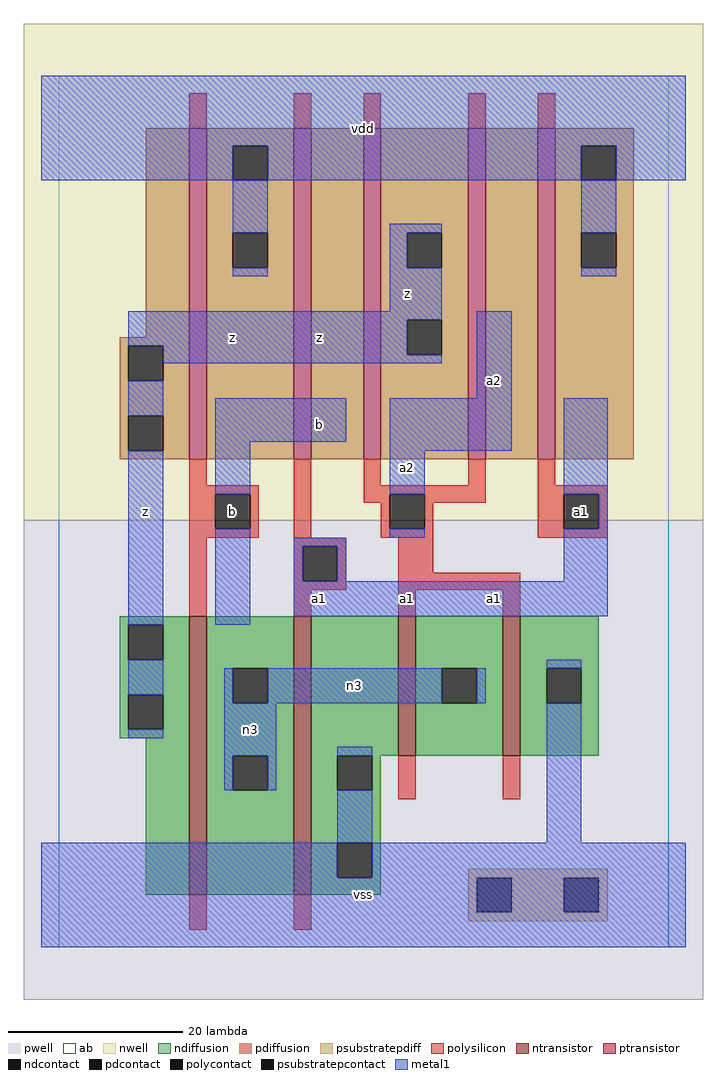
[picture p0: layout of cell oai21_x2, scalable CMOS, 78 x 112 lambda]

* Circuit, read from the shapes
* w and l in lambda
.subckt oai21_x2 a1 a2 b n3 vdd vss z
M1 n3 b z vss nfet w=32 l=2
M2 vss a1 n3 vss nfet w=32 l=2
M3 n3 a2 vss vss nfet w=16 l=2 m=2
M4 vdd b z n1 pfet w=38 l=2
M5 n2 a1 vdd n1 pfet w=38 l=2
M6 z a2 n2 n1 pfet w=38 l=2
M7 n4 a2 z n1 pfet w=38 l=2
M8 vdd a1 n4 n1 pfet w=38 l=2
.ends

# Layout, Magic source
magic
tech scmos
<< ab >>
rect 0 0 70 100
<< pwell >>
rect -4 -6 74 49
<< nwell >>
rect -4 49 74 106
<< polysilicon >>
rect 15 94 17 98
rect 27 94 29 98
rect 35 94 37 98
rect 47 94 49 98
rect 55 94 57 98
rect 15 53 17 56
rect 15 52 23 53
rect 15 48 18 52
rect 22 48 23 52
rect 15 47 23 48
rect 27 47 29 56
rect 35 53 37 56
rect 47 53 49 56
rect 35 52 49 53
rect 35 51 38 52
rect 37 48 38 51
rect 42 51 49 52
rect 55 53 57 56
rect 55 52 63 53
rect 42 48 43 51
rect 37 47 43 48
rect 55 48 58 52
rect 62 48 63 52
rect 55 47 63 48
rect 15 38 17 47
rect 27 46 33 47
rect 27 42 28 46
rect 32 42 33 46
rect 27 41 33 42
rect 39 43 43 47
rect 39 41 53 43
rect 27 38 29 41
rect 39 38 41 41
rect 51 38 53 41
rect 39 17 41 22
rect 51 17 53 22
rect 15 2 17 6
rect 27 2 29 6
<< ndiffusion >>
rect 7 37 15 38
rect 7 33 8 37
rect 12 33 15 37
rect 7 29 15 33
rect 7 25 8 29
rect 12 25 15 29
rect 7 24 15 25
rect 10 6 15 24
rect 17 32 27 38
rect 17 28 20 32
rect 24 28 27 32
rect 17 22 27 28
rect 17 18 20 22
rect 24 18 27 22
rect 17 6 27 18
rect 29 22 39 38
rect 41 32 51 38
rect 41 28 44 32
rect 48 28 51 32
rect 41 22 51 28
rect 53 32 62 38
rect 53 28 56 32
rect 60 28 62 32
rect 53 22 62 28
rect 29 18 32 22
rect 36 18 37 22
rect 29 12 37 18
rect 29 8 32 12
rect 36 8 37 12
rect 29 6 37 8
<< pdiffusion >>
rect 10 70 15 94
rect 7 69 15 70
rect 7 65 8 69
rect 12 65 15 69
rect 7 61 15 65
rect 7 57 8 61
rect 12 57 15 61
rect 7 56 15 57
rect 17 92 27 94
rect 17 88 20 92
rect 24 88 27 92
rect 17 82 27 88
rect 17 78 20 82
rect 24 78 27 82
rect 17 56 27 78
rect 29 56 35 94
rect 37 82 47 94
rect 37 78 40 82
rect 44 78 47 82
rect 37 72 47 78
rect 37 68 40 72
rect 44 68 47 72
rect 37 56 47 68
rect 49 56 55 94
rect 57 92 66 94
rect 57 88 60 92
rect 64 88 66 92
rect 57 82 66 88
rect 57 78 60 82
rect 64 78 66 82
rect 57 56 66 78
<< metal1 >>
rect -2 92 72 100
rect -2 88 20 92
rect 24 88 60 92
rect 64 88 72 92
rect 20 82 24 88
rect 20 77 24 78
rect 38 82 44 83
rect 38 78 40 82
rect 38 73 44 78
rect 60 82 64 88
rect 60 77 64 78
rect 8 72 44 73
rect 8 69 40 72
rect 12 68 40 69
rect 12 67 44 68
rect 8 61 12 65
rect 48 63 52 73
rect 8 37 12 57
rect 18 58 33 63
rect 18 52 22 58
rect 18 37 22 48
rect 38 57 52 63
rect 38 52 42 57
rect 38 47 42 48
rect 58 52 63 63
rect 62 48 63 52
rect 27 46 33 47
rect 27 42 28 46
rect 32 42 33 46
rect 58 42 63 48
rect 27 38 63 42
rect 8 29 12 33
rect 56 32 60 33
rect 8 24 12 25
rect 19 28 20 32
rect 24 28 44 32
rect 48 28 49 32
rect 19 22 25 28
rect 19 18 20 22
rect 24 18 25 22
rect 32 22 36 23
rect 32 12 36 18
rect 56 12 60 28
rect -2 8 32 12
rect 36 8 72 12
rect -2 0 72 8
<< ntransistor >>
rect 15 6 17 38
rect 27 6 29 38
rect 39 22 41 38
rect 51 22 53 38
<< ptransistor >>
rect 15 56 17 94
rect 27 56 29 94
rect 35 56 37 94
rect 47 56 49 94
rect 55 56 57 94
<< polycontact >>
rect 18 48 22 52
rect 38 48 42 52
rect 58 48 62 52
rect 28 42 32 46
<< ndcontact >>
rect 8 33 12 37
rect 8 25 12 29
rect 20 28 24 32
rect 20 18 24 22
rect 44 28 48 32
rect 56 28 60 32
rect 32 18 36 22
rect 32 8 36 12
<< pdcontact >>
rect 8 65 12 69
rect 8 57 12 61
rect 20 88 24 92
rect 20 78 24 82
rect 40 78 44 82
rect 40 68 44 72
rect 60 88 64 92
rect 60 78 64 82
<< psubstratepcontact >>
rect 48 4 52 8
rect 58 4 62 8
<< psubstratepdiff >>
rect 47 8 63 9
rect 47 4 48 8
rect 52 4 58 8
rect 62 4 63 8
rect 47 3 63 4
<< labels >>
rlabel metal1 22 25 22 25 6 n3
rlabel metal1 10 50 10 50 6 z
rlabel metal1 10 50 10 50 6 z
rlabel polycontact 20 50 20 50 6 b
rlabel polycontact 20 50 20 50 6 b
rlabel metal1 20 70 20 70 6 z
rlabel metal1 20 70 20 70 6 z
rlabel metal1 35 6 35 6 6 vss
rlabel metal1 35 6 35 6 6 vss
rlabel metal1 30 40 30 40 6 a1
rlabel metal1 30 40 30 40 6 a1
rlabel metal1 30 60 30 60 6 b
rlabel metal1 30 60 30 60 6 b
rlabel metal1 30 70 30 70 6 z
rlabel metal1 30 70 30 70 6 z
rlabel metal1 35 94 35 94 6 vdd
rlabel metal1 35 94 35 94 6 vdd
rlabel metal1 34 30 34 30 6 n3
rlabel metal1 50 40 50 40 6 a1
rlabel metal1 50 40 50 40 6 a1
rlabel metal1 40 40 40 40 6 a1
rlabel metal1 40 40 40 40 6 a1
rlabel metal1 40 55 40 55 6 a2
rlabel metal1 40 55 40 55 6 a2
rlabel metal1 40 75 40 75 6 z
rlabel metal1 40 75 40 75 6 z
rlabel metal1 50 65 50 65 6 a2
rlabel metal1 50 65 50 65 6 a2
rlabel polycontact 60 50 60 50 6 a1
rlabel polycontact 60 50 60 50 6 a1
<< end >>
